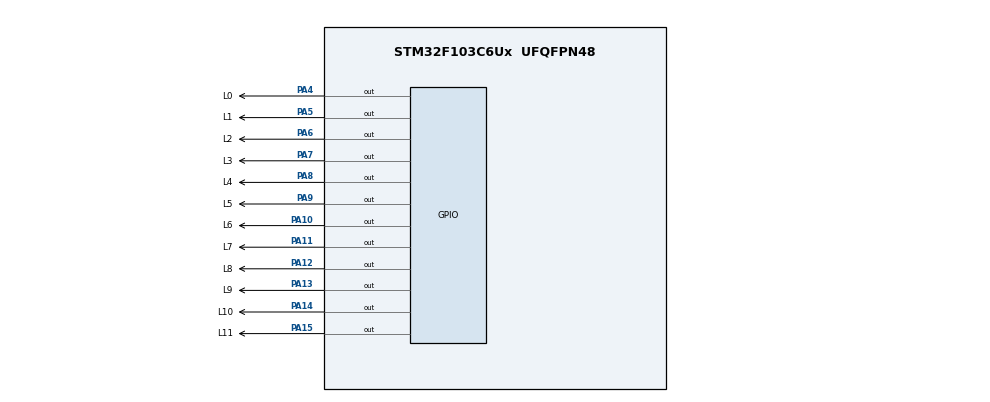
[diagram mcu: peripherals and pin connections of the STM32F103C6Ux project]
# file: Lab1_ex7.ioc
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Mcu.Family=STM32F1
Mcu.Name=STM32F103C6Ux
Mcu.Package=UFQFPN48
NVIC.PriorityGroup=NVIC_PRIORITYGROUP_4
PA10.GPIO_Label=L6
PA10.Signal=GPIO_Output
PA11.GPIO_Label=L7
PA11.Signal=GPIO_Output
PA12.GPIO_Label=L8
PA12.Signal=GPIO_Output
PA13.GPIO_Label=L9
PA13.Signal=GPIO_Output
PA14.GPIO_Label=L10
PA14.Signal=GPIO_Output
PA15.GPIO_Label=L11
PA15.Signal=GPIO_Output
PA4.GPIO_Label=L0
PA4.Signal=GPIO_Output
PA5.GPIO_Label=L1
PA5.Signal=GPIO_Output
PA6.GPIO_Label=L2
PA6.Signal=GPIO_Output
PA7.GPIO_Label=L3
PA7.Signal=GPIO_Output
PA8.GPIO_Label=L4
PA8.Signal=GPIO_Output
PA9.GPIO_Label=L5
PA9.Signal=GPIO_Output
ProjectManager.HeapSize=0x200
ProjectManager.StackSize=0x400
ProjectManager.TargetToolchain=STM32CubeIDE
RCC.APB1Freq_Value=8000000
RCC.APB2Freq_Value=8000000
VP_SYS_VS_ND.Mode=No_Debug
board=custom

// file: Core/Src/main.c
/* USER CODE BEGIN Header */
/**
  ******************************************************************************
  * @file           : main.c
  * @brief          : Main program body
  ******************************************************************************
  * @attention
  *
  * <h2><center>&copy; Copyright (c) 2023 STMicroelectronics.
  * All rights reserved.</center></h2>
  *
  * This software component is licensed by ST under BSD 3-Clause license,
  * the "License"; You may not use this file except in compliance with the
  * License. You may obtain a copy of the License at:
  *                        opensource.org/licenses/BSD-3-Clause
  *
  ******************************************************************************
  */
/* USER CODE END Header */
#include "main.h"

void SystemClock_Config(void);
static void MX_GPIO_Init(void);

/* USER CODE BEGIN 0 */

void clearAllClock () {
	HAL_GPIO_WritePin(GPIOA, L0_Pin, 0);
	HAL_GPIO_WritePin(GPIOA, L1_Pin, 0);
	HAL_GPIO_WritePin(GPIOA, L2_Pin, 0);
	HAL_GPIO_WritePin(GPIOA, L3_Pin, 0);
	HAL_GPIO_WritePin(GPIOA, L4_Pin, 0);
	HAL_GPIO_WritePin(GPIOA, L5_Pin, 0);
	HAL_GPIO_WritePin(GPIOA, L6_Pin, 0);
	HAL_GPIO_WritePin(GPIOA, L7_Pin, 0);
	HAL_GPIO_WritePin(GPIOA, L8_Pin, 0);
	HAL_GPIO_WritePin(GPIOA, L9_Pin, 0);
	HAL_GPIO_WritePin(GPIOA, L10_Pin, 0);
	HAL_GPIO_WritePin(GPIOA, L11_Pin, 0);
}
void setNumberOnClock(int num) {
	switch(num) {
	case 0:
		HAL_GPIO_WritePin(GPIOA, L0_Pin, 1);
		break;
	case 1:
		HAL_GPIO_WritePin(GPIOA, L1_Pin, 1);
		break;
	case 2:
		HAL_GPIO_WritePin(GPIOA, L2_Pin, 1);
		break;
	case 3:
		HAL_GPIO_WritePin(GPIOA, L3_Pin, 1);
		break;
	case 4:
		HAL_GPIO_WritePin(GPIOA, L4_Pin, 1);
		break;
	case 5:
		HAL_GPIO_WritePin(GPIOA, L5_Pin, 1);
		break;
	case 6:
		HAL_GPIO_WritePin(GPIOA, L6_Pin, 1);
		break;
	case 7:
		HAL_GPIO_WritePin(GPIOA, L7_Pin, 1);
		break;
	case 8:
		HAL_GPIO_WritePin(GPIOA, L8_Pin, 1);
		break;
	case 9:
		HAL_GPIO_WritePin(GPIOA, L9_Pin, 1);
		break;
	case 10:
		HAL_GPIO_WritePin(GPIOA, L10_Pin, 1);
		break;
	case 11:
		HAL_GPIO_WritePin(GPIOA, L11_Pin, 1);
		break;
	}
}
void clearNumberOnClock(int num) {
	switch(num) {
		case 0:
			HAL_GPIO_WritePin(GPIOA, L0_Pin, 0);
			break;
		case 1:
			HAL_GPIO_WritePin(GPIOA, L1_Pin, 0);
			break;
		case 2:
			HAL_GPIO_WritePin(GPIOA, L2_Pin, 0);
			break;
		case 3:
			HAL_GPIO_WritePin(GPIOA, L3_Pin, 0);
			break;
		case 4:
			HAL_GPIO_WritePin(GPIOA, L4_Pin, 0);
			break;
		case 5:
			HAL_GPIO_WritePin(GPIOA, L5_Pin, 0);
			break;
		case 6:
			HAL_GPIO_WritePin(GPIOA, L6_Pin, 0);
			break;
		case 7:
			HAL_GPIO_WritePin(GPIOA, L7_Pin, 0);
			break;
		case 8:
			HAL_GPIO_WritePin(GPIOA, L8_Pin, 0);
			break;
		case 9:
			HAL_GPIO_WritePin(GPIOA, L9_Pin, 0);
			break;
		case 10:
			HAL_GPIO_WritePin(GPIOA, L10_Pin, 0);
			break;
		case 11:
			HAL_GPIO_WritePin(GPIOA, L11_Pin, 0);
			break;
		}
}
int analog_encoder(int num) {
	return (num / 5);
}
void displayAnalogClock(int hour, int minute, int second) {
	setNumberOnClock(hour);
	setNumberOnClock(analog_encoder(minute));
	setNumberOnClock(analog_encoder(second));

}
/* USER CODE END 0 */

int main(void)
{

  /* MCU Configuration--------------------------------------------------------*/

  /* Reset of all peripherals, Initializes the Flash interface and the Systick. */
  HAL_Init();

  /* Configure the system clock */
  SystemClock_Config();

  /* Initialize all configured peripherals */
  MX_GPIO_Init();
  /* USER CODE BEGIN 2 */

  clearAllClock();
//  int delay_unit = 1000;
  // Initial state
  int hour = 0;
  int minute = 16;
  int second = 53;

  /* USER CODE END 2 */

  /* Infinite loop */
  /* USER CODE BEGIN WHILE */
  while (1)
  {
//	  if(second == 59) {
//		  second = 0;
//		  minute++;
//	  }
//	  if(minute == 59) {
//		  minute = 0;
//		  hour++;
//	  }
//	  if(hour == 11) {
//		  hour = 0;
//	  }
	  displayAnalogClock(hour, minute, second);
//	  second++;

//	  HAL_Delay(delay_unit);
//
//	  clearAllClock();
    /* USER CODE END WHILE */

  }
}

void SystemClock_Config(void)
{
  RCC_OscInitTypeDef RCC_OscInitStruct = {0};
  RCC_ClkInitTypeDef RCC_ClkInitStruct = {0};

  /** Initializes the RCC Oscillators according to the specified parameters
  * in the RCC_OscInitTypeDef structure.
  */
  RCC_OscInitStruct.OscillatorType = RCC_OSCILLATORTYPE_HSI;
  RCC_OscInitStruct.HSIState = RCC_HSI_ON;
  RCC_OscInitStruct.HSICalibrationValue = RCC_HSICALIBRATION_DEFAULT;
  RCC_OscInitStruct.PLL.PLLState = RCC_PLL_NONE;
  if (HAL_RCC_OscConfig(&RCC_OscInitStruct) != HAL_OK)
  {
    Error_Handler();
  }
  /** Initializes the CPU, AHB and APB buses clocks
  */
  RCC_ClkInitStruct.ClockType = RCC_CLOCKTYPE_HCLK|RCC_CLOCKTYPE_SYSCLK
                              |RCC_CLOCKTYPE_PCLK1|RCC_CLOCKTYPE_PCLK2;
  RCC_ClkInitStruct.SYSCLKSource = RCC_SYSCLKSOURCE_HSI;
  RCC_ClkInitStruct.AHBCLKDivider = RCC_SYSCLK_DIV1;
  RCC_ClkInitStruct.APB1CLKDivider = RCC_HCLK_DIV1;
  RCC_ClkInitStruct.APB2CLKDivider = RCC_HCLK_DIV1;

  if (HAL_RCC_ClockConfig(&RCC_ClkInitStruct, FLASH_LATENCY_0) != HAL_OK)
  {
    Error_Handler();
  }
}

static void MX_GPIO_Init(void)
{
  GPIO_InitTypeDef GPIO_InitStruct = {0};

  /* GPIO Ports Clock Enable */
  __HAL_RCC_GPIOA_CLK_ENABLE();

  /*Configure GPIO pin Output Level */
  HAL_GPIO_WritePin(GPIOA, L0_Pin|L1_Pin|L2_Pin|L3_Pin
                          |L4_Pin|L5_Pin|L6_Pin|L7_Pin
                          |L8_Pin|L9_Pin|L10_Pin|L11_Pin, GPIO_PIN_RESET);

  /*Configure GPIO pins : L0_Pin L1_Pin L2_Pin L3_Pin
                           L4_Pin L5_Pin L6_Pin L7_Pin
                           L8_Pin L9_Pin L10_Pin L11_Pin */
  GPIO_InitStruct.Pin = L0_Pin|L1_Pin|L2_Pin|L3_Pin
                          |L4_Pin|L5_Pin|L6_Pin|L7_Pin
                          |L8_Pin|L9_Pin|L10_Pin|L11_Pin;
  GPIO_InitStruct.Mode = GPIO_MODE_OUTPUT_PP;
  GPIO_InitStruct.Pull = GPIO_NOPULL;
  GPIO_InitStruct.Speed = GPIO_SPEED_FREQ_LOW;
  HAL_GPIO_Init(GPIOA, &GPIO_InitStruct);

}

void Error_Handler(void)
{
  __disable_irq();
  while (1)
  {
  }
}

/************************ (C) COPYRIGHT STMicroelectronics *****END OF FILE****/
